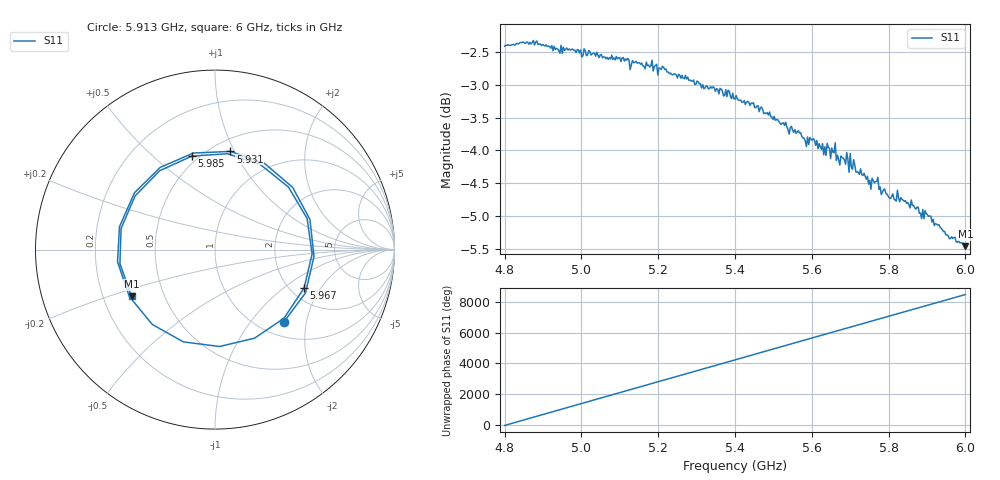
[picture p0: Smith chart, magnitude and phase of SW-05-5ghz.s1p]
! NanoVNA-App
! Date: 2026-05-22 18:57:07
! Start: 4.8GHz Stop: 6GHz Points: 401
! S-Parameter data: F S11
# Hz S RI R 50
!  Frequency  S11_Real  S11_Imag
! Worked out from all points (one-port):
!   401 points, 4.8 GHz to 6 GHz, reference 50 ohm
!   lowest |S11| = -5.5 dB at 6 GHz (marker M1), VSWR 3.29, Z = 16.2 - j11.8 ohm
!   |S11| at or under -10 dB: nowhere
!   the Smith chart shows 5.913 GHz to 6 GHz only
!   S11 on the Smith chart (normalised r, x): 5.913 GHz: 1.28, -1.49; 5.931 GHz: 0.61, +0.96; 5.967 GHz: 2.36, -1.43; 5.985 GHz: 0.46, +0.67; 6 GHz: 0.32, -0.24
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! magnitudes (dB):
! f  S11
! 4.8 GHz  -2.4
! 4.878 GHz  -2.4
! 4.95 GHz  -2.5
! 5.1 GHz  -2.6
! 5.19 GHz  -2.7
! 5.25 GHz  -2.9
! 5.4 GHz  -3.2
! 5.463 GHz  -3.4
! 5.55 GHz  -3.7
! 5.58 GHz  -3.8
! 5.601 GHz  -3.8
! 5.631 GHz  -4.1
! 5.658 GHz  -4.0
! 5.67 GHz  -4.1
! 5.688 GHz  -4.2
! 5.7 GHz  -4.0
! 5.706 GHz  -4.3
! 5.718 GHz  -4.3
! 5.748 GHz  -4.5
! 5.766 GHz  -4.5
! 5.799 GHz  -4.7
! 5.829 GHz  -4.8
! 5.85 GHz  -4.8
! 5.913 GHz  -5.1
! 5.931 GHz  -5.1
! 5.967 GHz  -5.3
! 5.985 GHz  -5.4
! 6 GHz  -5.5
